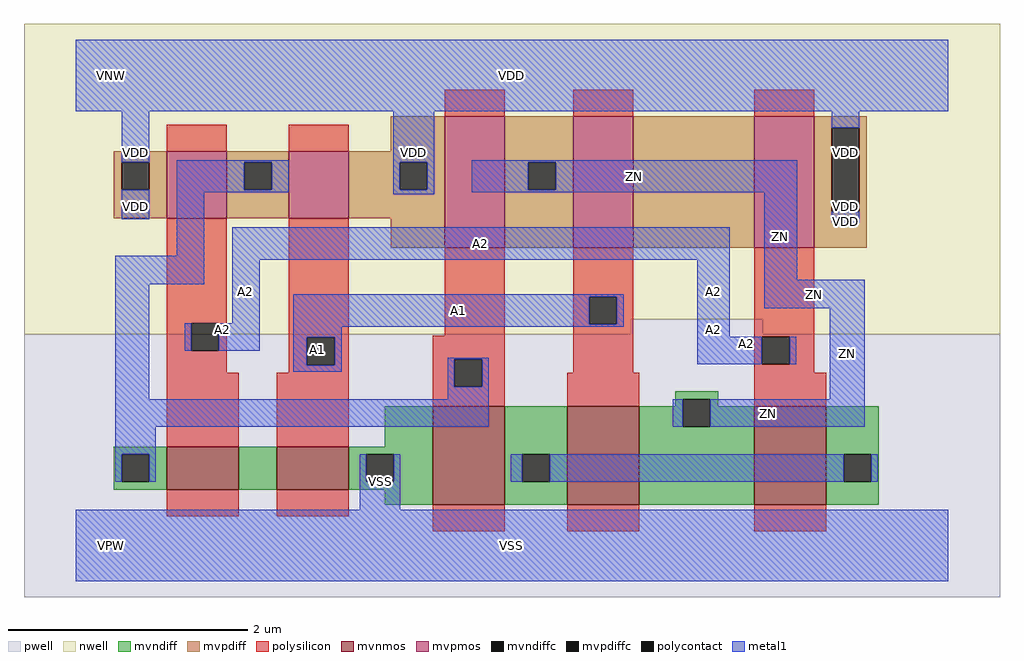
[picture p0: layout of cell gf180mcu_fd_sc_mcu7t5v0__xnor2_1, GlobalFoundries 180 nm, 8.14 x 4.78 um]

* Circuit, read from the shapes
.subckt gf180mcu_fd_sc_mcu7t5v0__xnor2_1 A1 A2 ZN VDD VNW VPW VSS
XM1 n1 A2 n2 VPW nfet_06v0 w=0.36u l=0.6u
XM2 VSS A1 n1 VPW nfet_06v0 w=0.36u l=0.6u
XM3 n3 n2 VSS VPW nfet_06v0 w=0.82u l=0.6u
XM4 ZN A1 n3 VPW nfet_06v0 w=0.82u l=0.6u
XM5 n3 A2 ZN VPW nfet_06v0 w=0.82u l=0.6u
XM6 n2 A2 VDD VNW pfet_06v0 w=0.56u l=0.5u
XM7 VDD A1 n2 VNW pfet_06v0 w=0.56u l=0.5u
XM8 ZN n2 VDD VNW pfet_06v0 w=1.095u l=0.5u
XM9 n4 A1 ZN VNW pfet_06v0 w=1.095u l=0.5u
XM10 VDD A2 n4 VNW pfet_06v0 w=1.095u l=0.5u
.ends

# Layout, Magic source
magic
tech gf180mcuD
magscale 1 10
<< nwell >>
rect -86 377 1542 870
rect -86 352 926 377
rect 1146 352 1542 377
<< pwell >>
rect 926 352 1146 377
rect -86 -86 1542 352
<< mvnmos >>
rect 152 93 272 165
rect 336 93 456 165
rect 596 68 716 232
rect 820 68 940 232
rect 1132 68 1252 232
<< mvpmos >>
rect 152 546 252 658
rect 356 546 456 658
rect 616 497 716 716
rect 830 497 930 716
rect 1132 497 1232 716
<< mvndiff >>
rect 1000 244 1072 257
rect 1000 232 1013 244
rect 516 165 596 232
rect 64 152 152 165
rect 64 106 77 152
rect 123 106 152 152
rect 64 93 152 106
rect 272 93 336 165
rect 456 152 596 165
rect 456 106 485 152
rect 531 106 596 152
rect 456 93 596 106
rect 516 68 596 93
rect 716 152 820 232
rect 716 106 745 152
rect 791 106 820 152
rect 716 68 820 106
rect 940 198 1013 232
rect 1059 232 1072 244
rect 1059 198 1132 232
rect 940 68 1132 198
rect 1252 152 1340 232
rect 1252 106 1281 152
rect 1327 106 1340 152
rect 1252 68 1340 106
<< mvpdiff >>
rect 526 658 616 716
rect 64 639 152 658
rect 64 593 77 639
rect 123 593 152 639
rect 64 546 152 593
rect 252 639 356 658
rect 252 593 281 639
rect 327 593 356 639
rect 252 546 356 593
rect 456 639 616 658
rect 456 593 541 639
rect 587 593 616 639
rect 456 546 616 593
rect 526 497 616 546
rect 716 639 830 716
rect 716 593 755 639
rect 801 593 830 639
rect 716 497 830 593
rect 930 497 1132 716
rect 1232 697 1320 716
rect 1232 557 1261 697
rect 1307 557 1320 697
rect 1232 497 1320 557
<< mvndiffc >>
rect 77 106 123 152
rect 485 106 531 152
rect 745 106 791 152
rect 1013 198 1059 244
rect 1281 106 1327 152
<< mvpdiffc >>
rect 77 593 123 639
rect 281 593 327 639
rect 541 593 587 639
rect 755 593 801 639
rect 1261 557 1307 697
<< polysilicon >>
rect 616 716 716 760
rect 830 716 930 760
rect 1132 716 1232 760
rect 152 658 252 702
rect 356 658 456 702
rect 152 371 252 546
rect 152 325 193 371
rect 239 325 252 371
rect 152 288 252 325
rect 356 347 456 546
rect 616 350 716 497
rect 356 301 386 347
rect 432 301 456 347
rect 356 288 456 301
rect 152 165 272 288
rect 336 165 456 288
rect 596 311 716 350
rect 596 265 632 311
rect 678 265 716 311
rect 830 415 930 497
rect 830 369 857 415
rect 903 369 930 415
rect 830 288 930 369
rect 1132 348 1232 497
rect 1132 302 1145 348
rect 1191 302 1232 348
rect 1132 288 1232 302
rect 596 232 716 265
rect 820 232 940 288
rect 152 49 272 93
rect 336 49 456 93
rect 1132 232 1252 288
rect 596 24 716 68
rect 820 24 940 68
rect 1132 24 1252 68
<< polycontact >>
rect 193 325 239 371
rect 386 301 432 347
rect 632 265 678 311
rect 857 369 903 415
rect 1145 302 1191 348
<< metal1 >>
rect 0 724 1456 844
rect 77 639 123 724
rect 77 544 123 593
rect 169 639 356 643
rect 169 593 281 639
rect 327 593 356 639
rect 169 589 356 593
rect 530 639 598 724
rect 1261 697 1307 724
rect 530 593 541 639
rect 587 593 598 639
rect 169 483 215 589
rect 530 586 598 593
rect 661 639 1204 643
rect 661 593 755 639
rect 801 593 1204 639
rect 661 589 1204 593
rect 66 436 215 483
rect 261 477 1091 531
rect 66 244 123 436
rect 261 371 307 477
rect 182 325 193 371
rect 239 325 307 371
rect 363 415 914 419
rect 363 369 857 415
rect 903 369 914 415
rect 363 365 914 369
rect 363 347 444 365
rect 363 301 386 347
rect 432 301 444 347
rect 1037 348 1091 477
rect 1149 443 1204 589
rect 1261 538 1307 557
rect 1149 396 1316 443
rect 363 290 444 301
rect 621 311 689 313
rect 621 265 632 311
rect 678 265 689 311
rect 1037 302 1145 348
rect 1191 302 1202 348
rect 621 244 689 265
rect 1258 244 1316 396
rect 66 198 689 244
rect 996 198 1013 244
rect 1059 198 1316 244
rect 66 152 134 198
rect 66 106 77 152
rect 123 106 134 152
rect 474 106 485 152
rect 531 106 542 152
rect 726 106 745 152
rect 791 106 1281 152
rect 1327 106 1338 152
rect 474 60 542 106
rect 0 -60 1456 60
<< labels >>
flabel metal1 s 0 724 1456 844 0 FreeSans 400 0 0 0 VDD
port 4 nsew power bidirectional abutment
flabel metal1 s 474 60 542 152 0 FreeSans 400 0 0 0 VSS
port 7 nsew ground bidirectional abutment
flabel metal1 s 661 589 1204 643 0 FreeSans 400 0 0 0 ZN
port 3 nsew default output
flabel metal1 s 363 365 914 419 0 FreeSans 400 0 0 0 A1
port 1 nsew default input
flabel metal1 s 261 477 1091 531 0 FreeSans 400 0 0 0 A2
port 2 nsew default input
flabel nwell s 10 734 110 834 0 FreeSans 400 0 0 0 VNW
port 5 nsew power bidirectional
flabel pwell s 10 -50 110 50 0 FreeSans 400 0 0 0 VPW
port 6 nsew ground bidirectional
rlabel metal1 s 363 290 444 365 1 A1
port 1 nsew default input
rlabel metal1 s 1037 371 1091 477 1 A2
port 2 nsew default input
rlabel metal1 s 261 371 307 477 1 A2
port 2 nsew default input
rlabel metal1 s 1037 348 1091 371 1 A2
port 2 nsew default input
rlabel metal1 s 182 348 307 371 1 A2
port 2 nsew default input
rlabel metal1 s 1037 325 1202 348 1 A2
port 2 nsew default input
rlabel metal1 s 182 325 307 348 1 A2
port 2 nsew default input
rlabel metal1 s 1037 302 1202 325 1 A2
port 2 nsew default input
rlabel metal1 s 1149 443 1204 589 1 ZN
port 3 nsew default output
rlabel metal1 s 1149 396 1316 443 1 ZN
port 3 nsew default output
rlabel metal1 s 1258 244 1316 396 1 ZN
port 3 nsew default output
rlabel metal1 s 996 198 1316 244 1 ZN
port 3 nsew default output
rlabel metal1 s 1261 586 1307 724 1 VDD
port 4 nsew power bidirectional abutment
rlabel metal1 s 530 586 598 724 1 VDD
port 4 nsew power bidirectional abutment
rlabel metal1 s 77 586 123 724 1 VDD
port 4 nsew power bidirectional abutment
rlabel metal1 s 1261 544 1307 586 1 VDD
port 4 nsew power bidirectional abutment
rlabel metal1 s 77 544 123 586 1 VDD
port 4 nsew power bidirectional abutment
rlabel metal1 s 1261 538 1307 544 1 VDD
port 4 nsew power bidirectional abutment
rlabel metal1 s 0 -60 1456 60 1 VSS
port 7 nsew ground bidirectional abutment
<< properties >>
string FIXED_BBOX 0 0 1456 784
string GDS_END 324200
string GDS_FILE $PDKPATH/libs.ref/gf180mcu_fd_sc_mcu7t5v0/gds/gf180mcu_fd_sc_mcu7t5v0.gds
string GDS_START 320374
string LEFclass core
string LEFsite GF018hv5v_mcu_sc7
string LEFsymmetry X Y
<< end >>
